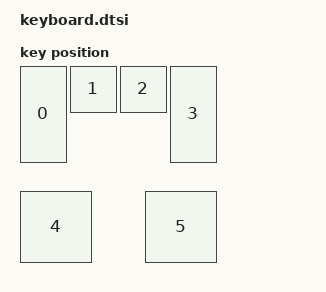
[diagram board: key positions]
#include <physical_layouts.dtsi>

/ {
    physical_layout0: physical_layout_0 {
        compatible = "zmk,physical-layout";
        display-name = "LAYOUT";

        kscan = <&kscan0>;
        transform = <&default_transform>;

        keys  //                     w   h    x    y     rot    rx    ry
            = <&key_physical_attrs 100 200    0    0       0     0     0>
            , <&key_physical_attrs 100 100  100    0       0     0     0>
            , <&key_physical_attrs 100 100  200    0       0     0     0>
            , <&key_physical_attrs 100 200  300    0       0     0     0>
            , <&key_physical_attrs 150 150    0  250       0     0     0>
            , <&key_physical_attrs 150 150  250  250       0     0     0>
            ;
    };
};
